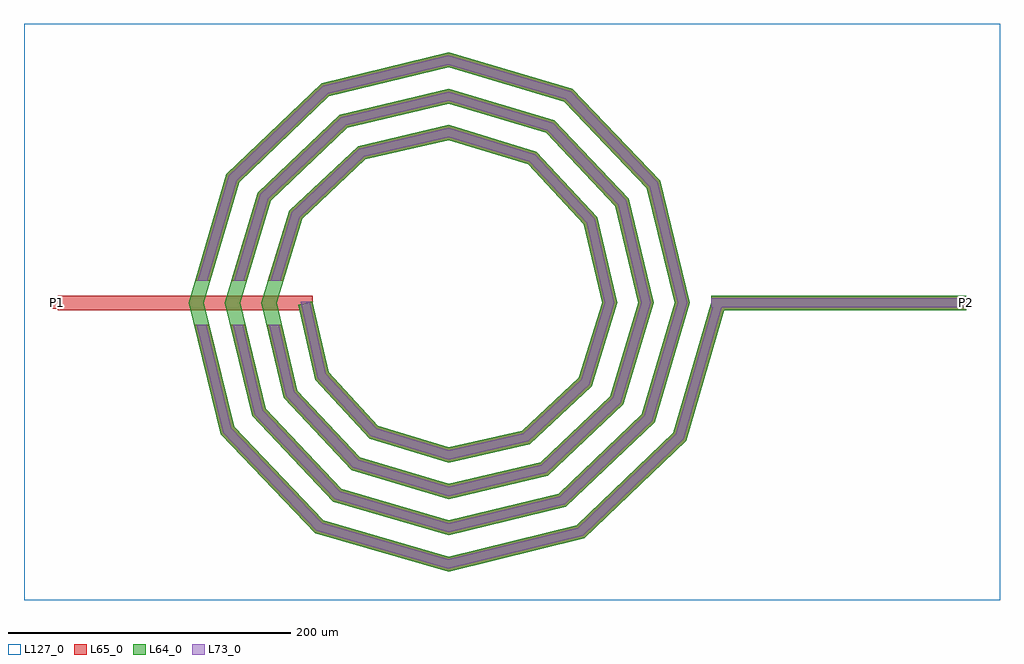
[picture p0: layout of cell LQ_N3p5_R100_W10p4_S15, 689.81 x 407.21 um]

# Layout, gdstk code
import gdstk
lib = gdstk.Library(unit=1e-6, precision=1e-09)
def R(c, l, rs):  # rectangles x0, y0, x1, y1
    for r in rs: c.add(gdstk.rectangle(r[:2], r[2:], *l))
def P(c, l, *ps):  # polygons
    for p in ps: c.add(gdstk.Polygon(p, *l))
L64_0 = (64, 0)
L65_0 = (65, 0)
L73_0 = (73, 0)
L127_0 = (127, 0)

lq_n3p5_r100_w10p4_s15 = lib.new_cell('LQ_N3p5_R100_W10p4_S15')
R(lq_n3p5_r100_w10p4_s15, L64_0, [(185.866,-5.2,365.866,5.2)])
P(lq_n3p5_r100_w10p4_s15, L64_0, [(-84.687,-49.134),(-49.848,-86.747),(0.2,-102.189),(52.335,-90.255),(92.303,-53.069),(108.612,0.189),(95.822,55.537),(56.289,97.86),(0.179,115.034),(-58.74,101.389),(-103.417,59.509),(-121.457,0.17),(-106.956,-61.943),(-62.727,-108.975),(0.161,-127.88),(65.148,-112.522),(114.533,-65.945),(134.302,0.154),(118.087,68.353),(69.163,120.092),(0.147,140.725),(-71.559,123.653),(-125.651,72.379),(-147.148,0.141),(-129.218,-74.765),(-75.596,-131.21),(0.135,-153.57),(77.971,-134.783),(136.77,-78.812),(159.993,0.13),(140.348,81.178),(82.028,142.329),(0.125,166.416),(-84.385,145.913),(-147.889,85.243),(-172.838,0.121),(-151.477,-87.593),(-88.458,-153.45),(0.116,-179.261),(90.801,-157.041),(159.01,-91.673),(186.073,1.451),(196.06,-1.451),(168.219,-97.252),(95.984,-166.479),(0.116,-190.026),(-94.045,-162.654),(-160.919,-92.769),(-183.603,0.121),(-157.09,90.837),(-89.553,155.358),(0.125,177.18),(87.629,151.525),(149.798,86.338),(170.757,0.13),(145.96,-84.422),(83.122,-144.239),(0.135,-164.334),(-81.215,-140.395),(-138.679,-79.906),(-157.911,0.141),(-134.83,78.009),(-76.689,133.119),(0.147,151.488),(74.803,129.264),(127.56,73.472),(145.065,0.154),(123.698,-71.598),(70.254,-122.001),(0.161,-138.642),(-68.393,-118.132),(-116.443,-67.036),(-132.219,0.17),(-112.565,65.188),(-63.817,110.885),(0.179,125.796),(61.985,106.998),(105.327,60.597),(119.373,0.189),(101.43,-58.782),(57.376,-99.77),(0.2,-112.95),(-55.581,-95.861),(-94.213,-54.154),(-106.218,-1.149),(-96.075,1.149)])
R(lq_n3p5_r100_w10p4_s15, L65_0, [(-275.947,-5.2,-95.947,5.2), (185.866,-5.2,365.866,5.2), (-279.947,-4,-271.947,4), (361.866,-4,369.866,4)])
P(lq_n3p5_r100_w10p4_s15, L65_0, [(-151.477,-87.593),(-88.458,-153.45),(0.117,-179.261),(90.801,-157.041),(159.01,-91.673),(186.073,1.451),(196.06,-1.451),(168.219,-97.253),(95.984,-166.479),(0.117,-190.026),(-94.045,-162.654),(-160.919,-92.769),(-179.764,-15.6),(-169.058,-15.6)],
  [(-129.218,-74.765),(-75.596,-131.21),(0.135,-153.57),(77.971,-134.783),(136.77,-78.812),(159.993,0.13),(140.348,81.178),(82.028,142.33),(0.125,166.416),(-84.385,145.913),(-147.89,85.243),(-168.244,15.6),(-179.079,15.6),(-157.09,90.837),(-89.554,155.358),(0.125,177.18),(87.629,151.525),(149.798,86.338),(170.757,0.13),(145.96,-84.422),(83.122,-144.239),(0.135,-164.334),(-81.215,-140.395),(-138.679,-79.906),(-154.129,-15.6),(-143.433,-15.6)],
  [(-106.956,-61.943),(-62.727,-108.975),(0.161,-127.88),(65.148,-112.522),(114.533,-65.945),(134.302,0.154),(118.087,68.353),(69.163,120.092),(0.147,140.725),(-71.559,123.653),(-125.651,72.38),(-142.482,15.6),(-153.329,15.6),(-134.83,78.009),(-76.689,133.119),(0.147,151.488),(74.803,129.264),(127.56,73.472),(145.065,0.154),(123.698,-71.598),(70.254,-122.001),(0.161,-138.642),(-68.393,-118.132),(-116.443,-67.036),(-128.517,-15.6),(-117.835,-15.6)],
  [(-49.848,-86.747),(0.2,-102.189),(52.335,-90.255),(92.303,-53.069),(108.612,0.189),(95.822,55.537),(56.289,97.86),(0.179,115.034),(-58.74,101.389),(-103.417,59.509),(-116.69,15.6),(-127.555,15.6),(-112.565,65.188),(-63.817,110.885),(0.179,125.796),(61.985,106.998),(105.327,60.597),(119.373,0.189),(101.43,-58.783),(57.376,-99.77),(0.2,-112.95),(-55.581,-95.861),(-94.213,-54.154),(-106.218,-1.149),(-96.075,1.149),(-84.687,-49.134)])
R(lq_n3p5_r100_w10p4_s15, L73_0, [(185.866,-3.2,365.866,3.2)])
P(lq_n3p5_r100_w10p4_s15, L73_0, [(-153.293,-88.588),(-89.532,-155.22),(0.072,-181.331),(91.798,-158.856),(160.781,-92.746),(187.994,0.893),(194.139,0.893),(166.448,-96.18),(94.987,-164.664),(0.072,-187.956),(-92.97,-160.884),(-159.103,-91.773),(-177.705,-15.6),(-171.117,-15.6)],
  [(-131.038,-75.753),(-76.677,-132.977),(0.083,-155.64),(78.962,-136.601),(138.537,-79.891),(162.063,0.08),(142.165,82.17),(83.105,144.098),(0.077,168.486),(-85.379,147.729),(-149.659,86.319),(-170.328,15.6),(-176.995,15.6),(-155.32,89.761),(-88.56,153.542),(0.077,175.11),(86.552,149.757),(147.981,85.346),(168.687,0.08),(144.193,-83.343),(82.132,-142.42),(0.083,-162.264),(-80.135,-138.629),(-136.86,-78.917),(-152.072,-15.6),(-145.49,-15.6)],
  [(-108.78,-62.923),(-63.817,-110.736),(0.099,-129.949),(66.13,-114.345),(116.296,-67.032),(136.372,0.095),(119.909,69.337),(70.247,121.856),(0.091,142.795),(-72.545,125.473),(-127.416,73.462),(-144.568,15.6),(-151.243,15.6),(-133.064,76.926),(-75.702,131.299),(0.091,149.418),(73.718,127.5),(125.739,72.487),(142.996,0.095),(121.936,-70.511),(69.272,-120.178),(0.099,-136.573),(-67.303,-116.371),(-114.618,-66.057),(-126.463,-15.6),(-119.889,-15.6)],
  [(-50.95,-88.499),(0.123,-104.259),(53.304,-92.085),(94.058,-54.168),(110.681,0.116),(97.65,56.51),(57.385,99.617),(0.11,117.104),(-59.716,103.215),(-105.176,60.601),(-118.779,15.6),(-125.466,15.6),(-110.806,64.096),(-62.84,109.059),(0.11,123.727),(60.89,105.24),(103.499,59.624),(117.304,0.116),(99.675,-57.684),(56.406,-97.94),(0.123,-110.881),(-54.478,-94.109),(-92.381,-53.188),(-104.268,0.707),(-98.026,0.707),(-86.519,-50.099)])
R(lq_n3p5_r100_w10p4_s15, L127_0, [(-299.947,-210.026,389.866,197.18)])
lq_n3p5_r100_w10p4_s15.add(gdstk.Label('P2', (365.866,0), layer=65, texttype=0))
lq_n3p5_r100_w10p4_s15.add(gdstk.Label('P1', (-275.947,0), layer=65, texttype=0))
lq_n3p5_r100_w10p4_s15.add(gdstk.Label('P2', (369.866,0), layer=145, texttype=0))
lq_n3p5_r100_w10p4_s15.add(gdstk.Label('P1', (-279.947,0), layer=145, texttype=0))

lib.write_gds('LQ_N3p5_R100_W10p4_S15.gds')
